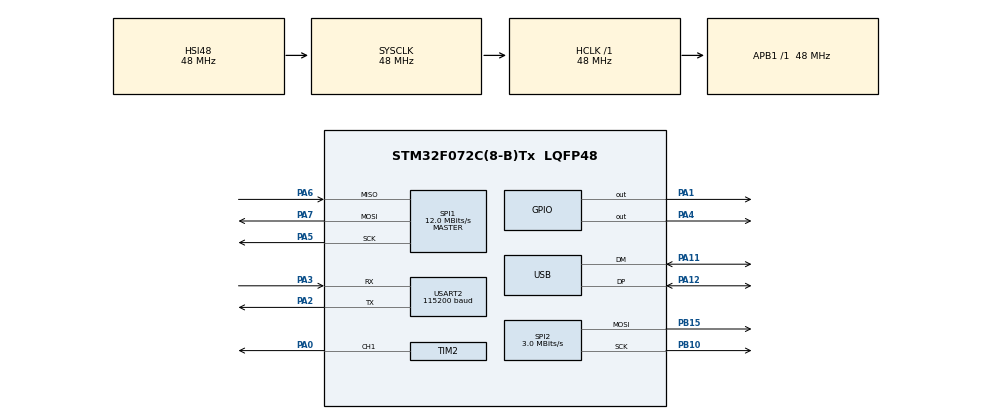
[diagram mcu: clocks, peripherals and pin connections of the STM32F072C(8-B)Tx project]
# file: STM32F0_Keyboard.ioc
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Mcu.Family=STM32F0
Mcu.Name=STM32F072C(8-B)Tx
Mcu.Package=LQFP48
NVIC.TIM2_IRQn=true\:0\:0\:false\:true\:true\:2
NVIC.TIM7_IRQn=true\:0\:0\:false\:true\:true\:1
NVIC.USB_IRQn=true\:0\:0\:true\:false\:true
PA0.Signal=S_TIM2_CH1_ETR
PA1.Signal=GPIO_Output
PA11.Mode=Device
PA11.Signal=USB_DM
PA12.Mode=Device
PA12.Signal=USB_DP
PA13.Mode=Serial_Wire
PA13.Signal=SYS_SWDIO
PA14.Mode=Serial_Wire
PA14.Signal=SYS_SWCLK
PA2.Mode=Asynchronous
PA2.Signal=USART2_TX
PA3.Mode=Asynchronous
PA3.Signal=USART2_RX
PA4.Signal=GPIO_Output
PA5.Mode=Full_Duplex_Master
PA5.Signal=SPI1_SCK
PA6.Mode=Full_Duplex_Master
PA6.Signal=SPI1_MISO
PA7.Mode=Full_Duplex_Master
PA7.Signal=SPI1_MOSI
PB10.Mode=TX_Only_Simplex_Unidirect_Master
PB10.Signal=SPI2_SCK
PB15.GPIO_PuPd=GPIO_PULLDOWN
PB15.Mode=TX_Only_Simplex_Unidirect_Master
PB15.Signal=SPI2_MOSI
PF0-OSC_IN.Mode=HSE-External-Oscillator
PF0-OSC_IN.Signal=RCC_OSC_IN
PF1-OSC_OUT.Mode=HSE-External-Oscillator
PF1-OSC_OUT.Signal=RCC_OSC_OUT
ProjectManager.HeapSize=0x200
ProjectManager.StackSize=0x400
ProjectManager.TargetToolchain=MDK-ARM V5
RCC.AHBFreq_Value=48000000
RCC.APB1Freq_Value=48000000
RCC.APB1TimFreq_Value=48000000
RCC.HCLKFreq_Value=48000000
RCC.PLLMUL=RCC_PLL_MUL6
RCC.PLLSourceVirtual=RCC_PLLSOURCE_HSE
RCC.SYSCLKFreq_VALUE=48000000
RCC.SYSCLKSource=RCC_SYSCLKSOURCE_HSI48
RCC.USBFreq_Value=48000000
SH.S_TIM2_CH1_ETR.0=TIM2_CH1,PWM Generation1 CH1
SPI1.BaudRatePrescaler=SPI_BAUDRATEPRESCALER_4
SPI1.CalculateBaudRate=12.0 MBits/s
SPI1.DataSize=SPI_DATASIZE_8BIT
SPI1.Direction=SPI_DIRECTION_2LINES
SPI1.Mode=SPI_MODE_MASTER
SPI1.VirtualType=VM_MASTER
SPI2.BaudRatePrescaler=SPI_BAUDRATEPRESCALER_16
SPI2.CLKPhase=SPI_PHASE_2EDGE
SPI2.CLKPolarity=SPI_POLARITY_HIGH
SPI2.CalculateBaudRate=3.0 MBits/s
SPI2.DataSize=SPI_DATASIZE_8BIT
SPI2.Direction=SPI_DIRECTION_2LINES
SPI2.FirstBit=SPI_FIRSTBIT_MSB
SPI2.Mode=SPI_MODE_MASTER
SPI2.VirtualType=VM_MASTER
TIM2.AutoReloadPreload=TIM_AUTORELOAD_PRELOAD_ENABLE
TIM2.Channel-PWM\ Generation1\ CH1=TIM_CHANNEL_1
TIM2.OCFastMode_PWM-PWM\ Generation1\ CH1=TIM_OCFAST_ENABLE
TIM2.Period=64
TIM2.TIM_MasterOutputTrigger=TIM_TRGO_UPDATE
TIM7.AutoReloadPreload=TIM_AUTORELOAD_PRELOAD_ENABLE
TIM7.Period=999
TIM7.Prescaler=47
USART2.BaudRate=115200
USART2.VirtualMode-Asynchronous=VM_ASYNC
USART2.WordLength=WORDLENGTH_8B
USB_DEVICE.CLASS_NAME_FS=HID
USB_DEVICE.VirtualMode=Hid
USB_DEVICE.VirtualModeFS=Hid_FS
VP_TIM7_VS_ClockSourceINT.Mode=Enable_Timer
VP_USB_DEVICE_VS_USB_DEVICE_HID_FS.Mode=HID_FS
board=STM32F0_Keyboard

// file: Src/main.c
/**
  ******************************************************************************
  * File Name          : main.c
  * Description        : Main program body
  ******************************************************************************
  * This notice applies to any and all portions of this file
  * that are not between comment pairs USER CODE BEGIN and
  * USER CODE END. Other portions of this file, whether
  * inserted by the user or by software development tools
  * are owned by their respective copyright owners.
  *
  * Copyright (c) 2017 STMicroelectronics International N.V.
  * All rights reserved.
  *
  * Redistribution and use in source and binary forms, with or without
  * modification, are permitted, provided that the following conditions are met:
  *
  * 1. Redistribution of source code must retain the above copyright notice,
  *    this list of conditions and the following disclaimer.
  * 2. Redistributions in binary form must reproduce the above copyright notice,
  *    this list of conditions and the following disclaimer in the documentation
  *    and/or other materials provided with the distribution.
  * 3. Neither the name of STMicroelectronics nor the names of other
  *    contributors to this software may be used to endorse or promote products
  *    derived from this software without specific written permission.
  * 4. This software, including modifications and/or derivative works of this
  *    software, must execute solely and exclusively on microcontroller or
  *    microprocessor devices manufactured by or for STMicroelectronics.
  * 5. Redistribution and use of this software other than as permitted under
  *    this license is void and will automatically terminate your rights under
  *    this license.
  *
  * THIS SOFTWARE IS PROVIDED BY STMICROELECTRONICS AND CONTRIBUTORS "AS IS"
  * AND ANY EXPRESS, IMPLIED OR STATUTORY WARRANTIES, INCLUDING, BUT NOT
  * LIMITED TO, THE IMPLIED WARRANTIES OF MERCHANTABILITY, FITNESS FOR A
  * PARTICULAR PURPOSE AND NON-INFRINGEMENT OF THIRD PARTY INTELLECTUAL PROPERTY
  * RIGHTS ARE DISCLAIMED TO THE FULLEST EXTENT PERMITTED BY LAW. IN NO EVENT
  * SHALL STMICROELECTRONICS OR CONTRIBUTORS BE LIABLE FOR ANY DIRECT, INDIRECT,
  * INCIDENTAL, SPECIAL, EXEMPLARY, OR CONSEQUENTIAL DAMAGES (INCLUDING, BUT NOT
  * LIMITED TO, PROCUREMENT OF SUBSTITUTE GOODS OR SERVICES; LOSS OF USE, DATA,
  * OR PROFITS; OR BUSINESS INTERRUPTION) HOWEVER CAUSED AND ON ANY THEORY OF
  * LIABILITY, WHETHER IN CONTRACT, STRICT LIABILITY, OR TORT (INCLUDING
  * NEGLIGENCE OR OTHERWISE) ARISING IN ANY WAY OUT OF THE USE OF THIS SOFTWARE,
  * EVEN IF ADVISED OF THE POSSIBILITY OF SUCH DAMAGE.
  *
  ******************************************************************************
  */
#include "main.h"
#include "stm32f0xx_hal.h"
#include "usb_device.h"

/* USER CODE BEGIN Includes */
//#include "ws2812b.h"
//#include "visEffect.h"

char RxData[11]={'0'};
uint8_t MyColor[3]={0};

#define UserLED_Toggle()	 HAL_GPIO_TogglePin(UserLED_GPIO_Port,UserLED_Pin)
#define UserLED_ON()  		 HAL_GPIO_WritePin(UserLED_GPIO_Port,UserLED_Pin,GPIO_PIN_SET)
#define UserLED_OFF() 		 HAL_GPIO_WritePin(UserLED_GPIO_Port,UserLED_Pin,GPIO_PIN_RESET)

#define numLEDs 9

/* USER CODE END Includes */

SPI_HandleTypeDef hspi1;
SPI_HandleTypeDef hspi2;

TIM_HandleTypeDef htim2;
TIM_HandleTypeDef htim7;

UART_HandleTypeDef huart2;

/* USER CODE BEGIN PV */
/* Private variables ---------------------------------------------------------*/
uint8_t sendButtonBuff[8]={0, 0, 0x00, 0, 0, 0, 0, 0};
uint8_t buttonDataFlow[16];
uint8_t buttonLookupTable[128] = {0x5c, 0x59, 0x62, 0x5D, 0x5a, 0x5e, 0x5B, 0x63, 0x53, 0x5F, 0x54, 0x60, 0x55, 0x61, 0x56, 0x57};
uint8_t buttonColor[3][104];
uint8_t pixelDataFlow[1024+3*104*4];
uint8_t colorDataFlow[3*104] = {0x55, 0xAA, 0x55, 0xAA, 0x55, 0xAA, 0x55, 0xAA, 0x55, 0xAA, 0x55, 0xAA, 0x55, 0xAA, 0x55, 0xAA, 0x55, 0xAA, 0x55, 0xAA, 0x55, 0xAA, 0x55, 0xAA, 0x55, 0xAA, 0x55, 0xAA, 0x55, 0xAA, 0x55, 0xAA, 0x55, 0xAA, 0x55, 0xAA, 0x55, 0xAA, 0x55, 0xAA, 0x55, 0xAA, 0x55, 0xAA, 0x55, 0xAA, 0x55, 0xAA, 0x55, 0xAA, 0x55, 0xAA, 0x55, 0xAA, 0x55, 0xAA, 0x55, 0xAA, 0x55, 0xAA, 0x55, 0xAA, 0x55, 0xAA, 0x55, 0xAA, 0x55, 0xAA, 0x55, 0xAA, 0x55, 0xAA, 0x55, 0xAA, 0x55, 0xAA, 0x55, 0xAA, 0x55, 0xAA, 0x55, 0xAA, 0x55, 0xAA, 0x55, 0xAA, 0x55, 0xAA, 0x55, 0xAA, 0x55, 0xAA, 0x55, 0xAA, 0x55, 0xAA, 0x55, 0xAA, 0x55, 0xAA, 0x55, 0xAA, 0x55, 0xAA, 0x55, 0xAA, 0x55, 0xAA, 0x55, 0xAA, 0x55, 0xAA, 0x55, 0xAA, 0x55, 0xAA, 0x55, 0xAA, 0x55, 0xAA, 0x55, 0xAA, 0x55, 0xAA, 0x55, 0xAA, 0x55, 0xAA, 0x55, 0xAA, 0x55, 0xAA, 0x55, 0xAA, 0x55, 0xAA, 0x55, 0xAA, 0x55, 0xAA, 0x55, 0xAA, 0x55, 0xAA, 0x55, 0xAA, 0x55, 0xAA, 0x55, 0xAA, 0x55, 0xAA, 0x55, 0xAA, 0x55, 0xAA, 0x55, 0xAA, 0x55, 0xAA, 0x55, 0xAA, 0x55, 0xAA, 0x55, 0xAA, 0x55, 0xAA, 0x55, 0xAA, 0x55, 0xAA, 0x55, 0xAA, 0x55, 0xAA, 0x55, 0xAA, 0x55, 0xAA, 0x55, 0xAA, 0x55, 0xAA, 0x55, 0xAA, 0x55, 0xAA, 0x55, 0xAA, 0x55, 0xAA, 0x55, 0xAA, 0x55, 0xAA, 0x55, 0xAA, 0x55, 0xAA, 0x55, 0xAA, 0x55, 0xAA, 0x55, 0xAA, 0x55, 0xAA, 0x55, 0xAA };
uint16_t colorDataIndex = 0;
TIM_OC_InitTypeDef mysConfigOC;
//uint8_t pixelReset[1024];

/* USER CODE END PV */

void SystemClock_Config(void);
static void MX_GPIO_Init(void);
static void MX_TIM7_Init(void);
static void MX_USART2_UART_Init(void);
static void MX_SPI1_Init(void);
static void MX_SPI2_Init(void);
static void MX_TIM2_Init(void);
static void MX_NVIC_Init(void);

void HAL_TIM_MspPostInit(TIM_HandleTypeDef *htim);

/* USER CODE BEGIN PFP */
/* Private function prototypes -----------------------------------------------*/
extern uint8_t USBD_HID_SendReport (USBD_HandleTypeDef *pdev,
                                 uint8_t *report,
                                 uint16_t len);

#ifdef __GNUC__
/* With GCC/RAISONANCE, small printf (option LD Linker->Libraries->Small printf
   set to 'Yes') calls __io_putchar() */
#define PUTCHAR_PROTOTYPE int __io_putchar(int ch)
#else
#define PUTCHAR_PROTOTYPE int fputc(int ch, FILE *f)
#endif /* __GNUC__ */
/**
  * @brief  Retargets the C library printf function to the USART.
  * @param  None
  * @retval None
  */
PUTCHAR_PROTOTYPE
{
  /* Place your implementation of fputc here */
  /* e.g. write a character to the USART2 and Loop until the end of transmission */
  HAL_UART_Transmit(&huart2, (uint8_t *)&ch, 1,100);

  return ch;
}

/* USER CODE END PFP */

/* USER CODE BEGIN 0 */

void Din_1(void)
{
	__HAL_TIM_SET_COMPARE(&htim2, TIM_CHANNEL_1, 48);
}
void Din_0(void)
{
	__HAL_TIM_SET_COMPARE(&htim2, TIM_CHANNEL_1, 14);
}

void Send_8bits(uint8_t dat)
{
		uint8_t i;
		Din_0();
		for(i=0;i<8;i++)
		{
			if(dat & 0x80)//1,for "1",H:0.8us,L:0.45us;
			{
				Din_1();
			}
			else 	//0 ,for "0",H:0.4us,L:	0.85us
			{
			 Din_0();
			}
		   dat=dat<<1;
	 }
}
//G--R--B
//MSB first
void Send_2811_24bits(uint8_t GData,uint8_t RData,uint8_t BData)
 {
	Send_8bits(GData);
	Send_8bits(RData);
	Send_8bits(BData);
 }

void rst()
{
	 __HAL_TIM_SET_COMPARE(&htim2, TIM_CHANNEL_1, 0);
	 //HAL_TIM_PWM_Start(&htim2, TIM_CHANNEL_1);
	 HAL_Delay (1);
}

uint8_t AscillToNum(char mychar)
{
	uint8_t num=0;
	switch(mychar)
	{
		case '0':num=0;break;
		case '1':num=1;break;
		case '2':num=2;break;
		case '3':num=3;break;
		case '4':num=4;break;
		case '5':num=5;break;
		case '6':num=6;break;
		case '7':num=7;break;
		case '8':num=8;break;
		case '9':num=9;break;
	}
	return num;
}

typedef uint8_t  echoDeng_u8Type;

echoDeng_u8Type rBuffer[numLEDs]={0};
echoDeng_u8Type gBuffer[numLEDs]={0};
echoDeng_u8Type bBuffer[numLEDs]={0};

void setAllPixelColor(uint8_t r, uint8_t g, uint8_t b)
{
				echoDeng_u8Type i=0;
				for(i=0;i<numLEDs;i++)
				{
					rBuffer[i]=r;
					gBuffer[i]=g;
					bBuffer[i]=b;
				}
				for(i=0;i<numLEDs;i++)
				{
						Send_2811_24bits(rBuffer[i],gBuffer[i],bBuffer[i]);
				}
 }
 void setPixelColor(uint16_t n, uint8_t r, uint8_t g, uint8_t b)
 {
				echoDeng_u8Type i=0;
				rBuffer[n]=r;
				gBuffer[n]=g;
				bBuffer[n]=b;
				for(i=0;i<numLEDs;i++)
				{
						Send_2811_24bits(rBuffer[i],gBuffer[i],bBuffer[i]);
				}
 }
  void SetPixelColor(uint16_t n, uint32_t c)
 {
				echoDeng_u8Type i=0;
				rBuffer[n]=(uint8_t)(c>>16);
				gBuffer[n]=(uint8_t)(c>>8);
				bBuffer[n]=(uint8_t)c;
				for(i=0;i<numLEDs;i++)
				{
						Send_2811_24bits(rBuffer[i],gBuffer[i],bBuffer[i]);
				}
 }
void PixelUpdate()
{
	rst();
}
uint32_t Color(uint8_t r, uint8_t g, uint8_t b)
{
  return ((uint32_t)r << 16) | ((uint32_t)g <<  8) | b;
}
uint32_t Wheel(uint8_t WheelPos)
{
  WheelPos = 255 - WheelPos;
  if(WheelPos < 85)
	{
    return Color(255 - WheelPos * 3, 0, WheelPos * 3);
  }
  if(WheelPos < 170) {
    WheelPos -= 85;
    return Color(0, WheelPos * 3, 255 - WheelPos * 3);
  }
  WheelPos -= 170;
  return Color(WheelPos * 3, 255 - WheelPos * 3, 0);
}
//??
void rainbow(uint8_t wait)
{
  uint16_t i, j;

  for(j=0; j<256; j++)
	{
    for(i=0; i<numLEDs; i++)
		{
      SetPixelColor(i, Wheel((i+j) & 255));
    }
		PixelUpdate();
    HAL_Delay (wait);
  }
}
// Slightly different, this makes the rainbow equally distributed throughout
void rainbowCycle(uint8_t wait)
{
  uint16_t i, j;

  for(j=0; j<256*5; j++)
	{ // 5 cycles of all colors on wheel
    for(i=0; i< numLEDs; i++)
	 {
     SetPixelColor(i, Wheel(((i * 256 / numLEDs) + j) & 255));
    }
	  PixelUpdate();
    HAL_Delay (wait);
  }
}
//Theatre-style crawling lights.???
void theaterChase(uint32_t c, uint8_t wait)
{
  for (int j=0; j<10; j++)
	{  //do 10 cycles of chasing
    for (int q=0; q < 3; q++)
		{
      for (uint16_t i=0; i < numLEDs; i=i+3)
			{
        SetPixelColor(i+q, c);    //turn every third pixel on
      }
			PixelUpdate();
      HAL_Delay(wait);

      for (uint16_t i=0; i < numLEDs; i=i+3)
			{
       SetPixelColor(i+q, 0);        //turn every third pixel off
      }
			PixelUpdate();
    }
  }
}

//Theatre-style crawling lights with rainbow effect
void theaterChaseRainbow(uint8_t wait)
{
  for (int j=0; j < 256; j++)
	{     // cycle all 256 colors in the wheel
    for (int q=0; q < 3; q++)
		{
      for (uint16_t i=0; i < numLEDs; i=i+3)
			{
        SetPixelColor(i+q, Wheel( (i+j) % 255));    //turn every third pixel on
      }
      PixelUpdate();

      HAL_Delay(wait);

      for (uint16_t i=0; i < numLEDs; i=i+3)
			{
        SetPixelColor(i+q, 0);        //turn every third pixel off
      }
    }
  }
}
// Fill the dots one after the other with a color
void colorWipe(uint32_t c, uint8_t wait)
{
	uint16_t i=0;
  for( i=0; i<numLEDs; i++)
	{
    SetPixelColor(i, c);
    PixelUpdate();
    HAL_Delay(wait);
  }
}

/* USER CODE END 0 */

int main(void)
{

  /* USER CODE BEGIN 1 */
	char hello[] = "Hello,World!\n";
	uint8_t i=0;
  /* USER CODE END 1 */

  /* MCU Configuration----------------------------------------------------------*/

  /* Reset of all peripherals, Initializes the Flash interface and the Systick. */
  HAL_Init();

  /* Configure the system clock */
  SystemClock_Config();

  /* Initialize all configured peripherals */
  MX_GPIO_Init();
  MX_USB_DEVICE_Init();
  MX_TIM7_Init();
  MX_USART2_UART_Init();
  MX_SPI1_Init();
  MX_SPI2_Init();
  MX_TIM2_Init();

  /* Initialize interrupts */
  MX_NVIC_Init();

  /* USER CODE BEGIN 2 */

	//HAL_TIM_PWM_Start(&htim2, TIM_CHANNEL_1);

	//HAL_TIM_PWM_Start_IT(&htim2, TIM_CHANNEL_1);
	//HAL_TIM_Base_Start_IT(&htim2);
	HAL_TIM_Base_Start_IT(&htim7);

	for(i = 0; i < 104; i++)
	{
		/*
		buttonColor[0][i] = i ;
		buttonColor[1][i] = i ;
		buttonColor[2][i] = i ;
		*/

		buttonColor[0][i] = (((i + 3) * 247 + 48) / 5 % 0xFF )& 0xFE;
		buttonColor[1][i] = (((i + 158) * 87 + 7) / 77 % 0xFF )& 0xFE ;
		buttonColor[2][i] = (((i + 8) * 5 + 21) / 12 % 0xFF )& 0xFE ;

		/*
		buttonColor[0][i] = 0x04 ;
		buttonColor[1][i] = 0x04 ;
		buttonColor[2][i] = 0x04 ;
		*/

	}

	/*
	buttonColor[0][5] = 0xFE ;
	buttonColor[1][5] = 0x32 ;
	buttonColor[2][5] = 0x42 ;
	*/

	uint16_t pixelIndex = 0;
	for(i = 0; i < 104; i++)
	{
		for(uint8_t countrgb = 0; countrgb < 3; countrgb ++)
		{
			pixelIndex = 1024 + i*3*4 + (countrgb*4);
			for(uint8_t count = 0; count < 4; count ++)
			{
				pixelDataFlow[pixelIndex] = 0x88;
				if(buttonColor[countrgb][i] & 1 << count*2)
				{
					pixelDataFlow[pixelIndex] += 0x60;
				}
				if(buttonColor[countrgb][i] & 1 << (count*2 + 1))
				{
					pixelDataFlow[pixelIndex] += 0x06;
				}
				pixelIndex++;
			}
		}
	}

	//colorDataFlow[3*3] = 0x55;

  /* USER CODE END 2 */

  /* Infinite loop */
  while (1)
  {

  /* USER CODE BEGIN 3 */

		printf("%2x%2x\n", 255-buttonDataFlow[0], 255-buttonDataFlow[1]);
		printf("%2x%2x%2x%2x%2x%2x%2x%2x\n", sendButtonBuff[0], sendButtonBuff[1], sendButtonBuff[2], sendButtonBuff[3], sendButtonBuff[4], sendButtonBuff[5], sendButtonBuff[6], sendButtonBuff[7]);
		//HAL_GPIO_TogglePin(GPIOA, GPIO_PIN_0);
		//sendButtonBuff[2] = 0x04;
		//HAL_Delay(100);
		//sendButtonBuff[2] = 0x00;
		//GPIOA->BRR = (uint32_t)GPIO_PIN_4;
		/*
		uint8_t countbyte,countbit,buttonDataBuf,keycount = 0;
		GPIOA->BRR = (uint32_t)GPIO_PIN_4;
		HAL_SPI_Receive(&hspi1, buttonDataFlow, 16, 1000);
		GPIOA->BSRR = (uint32_t)GPIO_PIN_4;
		//for(countbyte = 0; countbyte < 16; countbyte++)
		for(countbyte = 0; countbyte < 2; countbyte++)
		{
			buttonDataBuf = 0xFF - buttonDataFlow[countbyte];
			if (buttonDataBuf)
				for(countbit = 0; countbit < 8; countbit++)
				{
					if(buttonDataBuf & 1 << countbit && keycount <= 6)
					{
						sendButtonBuff[2 + keycount++] = buttonLookupTable[(uint16_t)(countbyte * 8) + countbit];
					}
				}
		}
		for(;keycount <= 6; keycount++)
			sendButtonBuff[2 + keycount] = 0;
			*/
		//GPIOA->BSRR = (uint32_t)GPIO_PIN_4;
		//HAL_GPIO_WritePin(GPIOB, GPIO_PIN_15, GPIO_PIN_RESET);

		//HAL_SPI_Transmit(&hspi2, pixelReset, 1024, 1000);
		__disable_irq();
		HAL_SPI_Transmit(&hspi2, pixelDataFlow, 1024+3*104*4, 1000);
		__enable_irq();

		HAL_UART_Transmit(&huart2, (uint8_t *)hello, sizeof(hello), 1000);

/*
		// Some example procedures showing how to display to the pixels:
		colorWipe(Color(255, 0, 0), 50); // Red
		colorWipe(Color(0, 255, 0), 50); // Green
		colorWipe(Color(0, 0, 255), 50); // Blue

		// Send a theater pixel chase in...
		theaterChase(Color(127, 127, 127), 50); // White
		theaterChase(Color(127, 0, 0), 50); // Red
		theaterChase(Color(0, 0, 127), 50); // Blue

		rainbow(20);//??
		rainbowCycle(20);//??
		theaterChaseRainbow(50);//???

		rst();
		for (i = 0; i<255; i++)
			Din_1();
		for (i = 0; i<255; i++)
		{
			//Din_0();
			Din_1();
		}
		*/

		HAL_Delay(1000);
		//HAL_TIM_PWM_Start_IT(&htim2, TIM_CHANNEL_1);
		//HAL_TIM_Base_Start_IT(&htim2);
  }
  /* USER CODE END 3 */

}

/** System Clock Configuration
*/
void SystemClock_Config(void)
{

  RCC_OscInitTypeDef RCC_OscInitStruct;
  RCC_ClkInitTypeDef RCC_ClkInitStruct;
  RCC_PeriphCLKInitTypeDef PeriphClkInit;

    /**Initializes the CPU, AHB and APB busses clocks
    */
  RCC_OscInitStruct.OscillatorType = RCC_OSCILLATORTYPE_HSI48;
  RCC_OscInitStruct.HSI48State = RCC_HSI48_ON;
  RCC_OscInitStruct.PLL.PLLState = RCC_PLL_NONE;
  if (HAL_RCC_OscConfig(&RCC_OscInitStruct) != HAL_OK)
  {
    _Error_Handler(__FILE__, __LINE__);
  }

    /**Initializes the CPU, AHB and APB busses clocks
    */
  RCC_ClkInitStruct.ClockType = RCC_CLOCKTYPE_HCLK|RCC_CLOCKTYPE_SYSCLK
                              |RCC_CLOCKTYPE_PCLK1;
  RCC_ClkInitStruct.SYSCLKSource = RCC_SYSCLKSOURCE_HSI48;
  RCC_ClkInitStruct.AHBCLKDivider = RCC_SYSCLK_DIV1;
  RCC_ClkInitStruct.APB1CLKDivider = RCC_HCLK_DIV1;

  if (HAL_RCC_ClockConfig(&RCC_ClkInitStruct, FLASH_LATENCY_1) != HAL_OK)
  {
    _Error_Handler(__FILE__, __LINE__);
  }

  PeriphClkInit.PeriphClockSelection = RCC_PERIPHCLK_USB|RCC_PERIPHCLK_USART2;
  PeriphClkInit.Usart2ClockSelection = RCC_USART2CLKSOURCE_PCLK1;
  PeriphClkInit.UsbClockSelection = RCC_USBCLKSOURCE_HSI48;

  if (HAL_RCCEx_PeriphCLKConfig(&PeriphClkInit) != HAL_OK)
  {
    _Error_Handler(__FILE__, __LINE__);
  }

    /**Configure the Systick interrupt time
    */
  HAL_SYSTICK_Config(HAL_RCC_GetHCLKFreq()/1000);

    /**Configure the Systick
    */
  HAL_SYSTICK_CLKSourceConfig(SYSTICK_CLKSOURCE_HCLK);

  /* SysTick_IRQn interrupt configuration */
  HAL_NVIC_SetPriority(SysTick_IRQn, 0, 0);
}

/** NVIC Configuration
*/
static void MX_NVIC_Init(void)
{
  /* TIM7_IRQn interrupt configuration */
  HAL_NVIC_SetPriority(TIM7_IRQn, 0, 0);
  HAL_NVIC_EnableIRQ(TIM7_IRQn);
  /* TIM2_IRQn interrupt configuration */
  HAL_NVIC_SetPriority(TIM2_IRQn, 0, 0);
  HAL_NVIC_EnableIRQ(TIM2_IRQn);
}

/* SPI1 init function */
static void MX_SPI1_Init(void)
{

  hspi1.Instance = SPI1;
  hspi1.Init.Mode = SPI_MODE_MASTER;
  hspi1.Init.Direction = SPI_DIRECTION_2LINES;
  hspi1.Init.DataSize = SPI_DATASIZE_8BIT;
  hspi1.Init.CLKPolarity = SPI_POLARITY_LOW;
  hspi1.Init.CLKPhase = SPI_PHASE_1EDGE;
  hspi1.Init.NSS = SPI_NSS_SOFT;
  hspi1.Init.BaudRatePrescaler = SPI_BAUDRATEPRESCALER_4;
  hspi1.Init.FirstBit = SPI_FIRSTBIT_MSB;
  hspi1.Init.TIMode = SPI_TIMODE_DISABLE;
  hspi1.Init.CRCCalculation = SPI_CRCCALCULATION_DISABLE;
  hspi1.Init.CRCPolynomial = 7;
  hspi1.Init.CRCLength = SPI_CRC_LENGTH_DATASIZE;
  hspi1.Init.NSSPMode = SPI_NSS_PULSE_ENABLE;
  if (HAL_SPI_Init(&hspi1) != HAL_OK)
  {
    _Error_Handler(__FILE__, __LINE__);
  }

}

/* SPI2 init function */
static void MX_SPI2_Init(void)
{

  hspi2.Instance = SPI2;
  hspi2.Init.Mode = SPI_MODE_MASTER;
  hspi2.Init.Direction = SPI_DIRECTION_2LINES;
  hspi2.Init.DataSize = SPI_DATASIZE_8BIT;
  hspi2.Init.CLKPolarity = SPI_POLARITY_HIGH;
  hspi2.Init.CLKPhase = SPI_PHASE_2EDGE;
  hspi2.Init.NSS = SPI_NSS_SOFT;
  hspi2.Init.BaudRatePrescaler = SPI_BAUDRATEPRESCALER_16;
  hspi2.Init.FirstBit = SPI_FIRSTBIT_MSB;
  hspi2.Init.TIMode = SPI_TIMODE_DISABLE;
  hspi2.Init.CRCCalculation = SPI_CRCCALCULATION_DISABLE;
  hspi2.Init.CRCPolynomial = 7;
  hspi2.Init.CRCLength = SPI_CRC_LENGTH_DATASIZE;
  hspi2.Init.NSSPMode = SPI_NSS_PULSE_DISABLE;
  if (HAL_SPI_Init(&hspi2) != HAL_OK)
  {
    _Error_Handler(__FILE__, __LINE__);
  }

}

/* TIM2 init function */
static void MX_TIM2_Init(void)
{

  TIM_MasterConfigTypeDef sMasterConfig;
  TIM_OC_InitTypeDef sConfigOC;

  htim2.Instance = TIM2;
  htim2.Init.Prescaler = 0;
  htim2.Init.CounterMode = TIM_COUNTERMODE_UP;
  htim2.Init.Period = 64;
  htim2.Init.ClockDivision = TIM_CLOCKDIVISION_DIV1;
  htim2.Init.AutoReloadPreload = TIM_AUTORELOAD_PRELOAD_ENABLE;
  if (HAL_TIM_PWM_Init(&htim2) != HAL_OK)
  {
    _Error_Handler(__FILE__, __LINE__);
  }

  sMasterConfig.MasterOutputTrigger = TIM_TRGO_UPDATE;
  sMasterConfig.MasterSlaveMode = TIM_MASTERSLAVEMODE_DISABLE;
  if (HAL_TIMEx_MasterConfigSynchronization(&htim2, &sMasterConfig) != HAL_OK)
  {
    _Error_Handler(__FILE__, __LINE__);
  }

  sConfigOC.OCMode = TIM_OCMODE_PWM1;
  sConfigOC.Pulse = 0;
  sConfigOC.OCPolarity = TIM_OCPOLARITY_HIGH;
  sConfigOC.OCFastMode = TIM_OCFAST_ENABLE;
  if (HAL_TIM_PWM_ConfigChannel(&htim2, &sConfigOC, TIM_CHANNEL_1) != HAL_OK)
  {
    _Error_Handler(__FILE__, __LINE__);
  }

  HAL_TIM_MspPostInit(&htim2);

}

/* TIM7 init function */
static void MX_TIM7_Init(void)
{

  TIM_MasterConfigTypeDef sMasterConfig;

  htim7.Instance = TIM7;
  htim7.Init.Prescaler = 47;
  htim7.Init.CounterMode = TIM_COUNTERMODE_UP;
  htim7.Init.Period = 999;
  htim7.Init.AutoReloadPreload = TIM_AUTORELOAD_PRELOAD_ENABLE;
  if (HAL_TIM_Base_Init(&htim7) != HAL_OK)
  {
    _Error_Handler(__FILE__, __LINE__);
  }

  sMasterConfig.MasterOutputTrigger = TIM_TRGO_RESET;
  sMasterConfig.MasterSlaveMode = TIM_MASTERSLAVEMODE_DISABLE;
  if (HAL_TIMEx_MasterConfigSynchronization(&htim7, &sMasterConfig) != HAL_OK)
  {
    _Error_Handler(__FILE__, __LINE__);
  }

}

/* USART2 init function */
static void MX_USART2_UART_Init(void)
{

  huart2.Instance = USART2;
  huart2.Init.BaudRate = 115200;
  huart2.Init.WordLength = UART_WORDLENGTH_8B;
  huart2.Init.StopBits = UART_STOPBITS_1;
  huart2.Init.Parity = UART_PARITY_NONE;
  huart2.Init.Mode = UART_MODE_TX_RX;
  huart2.Init.HwFlowCtl = UART_HWCONTROL_NONE;
  huart2.Init.OverSampling = UART_OVERSAMPLING_16;
  huart2.Init.OneBitSampling = UART_ONE_BIT_SAMPLE_DISABLE;
  huart2.AdvancedInit.AdvFeatureInit = UART_ADVFEATURE_NO_INIT;
  if (HAL_UART_Init(&huart2) != HAL_OK)
  {
    _Error_Handler(__FILE__, __LINE__);
  }

}

/** Configure pins as
        * Analog
        * Input
        * Output
        * EVENT_OUT
        * EXTI
*/
static void MX_GPIO_Init(void)
{

  GPIO_InitTypeDef GPIO_InitStruct;

  /* GPIO Ports Clock Enable */
  __HAL_RCC_GPIOF_CLK_ENABLE();
  __HAL_RCC_GPIOA_CLK_ENABLE();
  __HAL_RCC_GPIOB_CLK_ENABLE();

  /*Configure GPIO pin Output Level */
  HAL_GPIO_WritePin(GPIOA, GPIO_PIN_1|GPIO_PIN_4, GPIO_PIN_RESET);

  /*Configure GPIO pins : PA1 PA4 */
  GPIO_InitStruct.Pin = GPIO_PIN_1|GPIO_PIN_4;
  GPIO_InitStruct.Mode = GPIO_MODE_OUTPUT_PP;
  GPIO_InitStruct.Pull = GPIO_NOPULL;
  GPIO_InitStruct.Speed = GPIO_SPEED_FREQ_LOW;
  HAL_GPIO_Init(GPIOA, &GPIO_InitStruct);

}

void _Error_Handler(char * file, int line)
{
  while(1)
  {
  }
}

/************************ (C) COPYRIGHT STMicroelectronics *****END OF FILE****/
